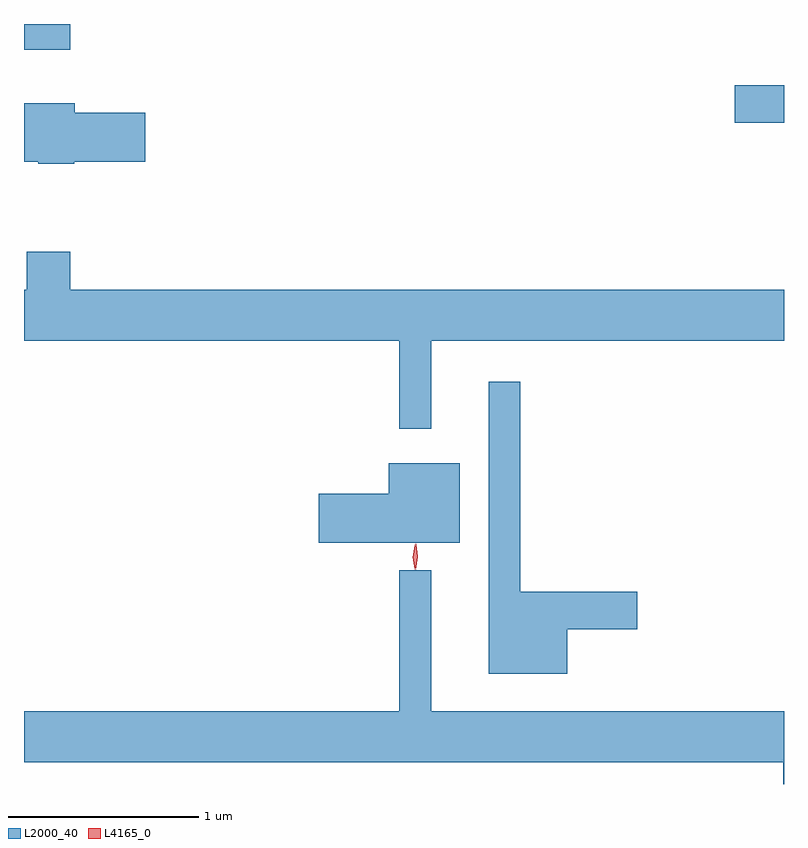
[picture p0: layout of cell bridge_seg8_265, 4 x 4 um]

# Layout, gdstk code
import gdstk
lib = gdstk.Library(unit=1e-6, precision=1e-09)
def R(c, l, rs):  # rectangles x0, y0, x1, y1
    for r in rs: c.add(gdstk.rectangle(r[:2], r[2:], *l))
def P(c, l, *ps):  # polygons
    for p in ps: c.add(gdstk.Polygon(p, *l))
L2000_40 = (2000, 40)
L4165_0 = (4165, 0)

bridge_seg8_265 = lib.new_cell('bridge_seg8_265')
R(bridge_seg8_265, L2000_40, [(1051.466,1810.921,1051.726,1811.119), (1047.726,1811.306,1047.969,1811.442)])
P(bridge_seg8_265, L2000_40, [(1047.99,1810.716),(1048.364,1810.716),(1048.364,1810.974),(1047.994,1810.974),(1047.994,1811.024),(1047.726,1811.024),(1047.726,1810.716),(1047.8,1810.716),(1047.8,1810.706),(1047.99,1810.706)],
  [(1049.869,1809.776),(1051.726,1809.776),(1051.726,1810.044),(1047.969,1810.044),(1047.969,1810.244),(1047.741,1810.244),(1047.741,1810.044),(1047.726,1810.044),(1047.726,1809.776),(1049.701,1809.776),(1049.701,1809.313),(1049.869,1809.313)],
  [(1050.584,1808.256),(1050.954,1808.256),(1050.954,1808.454),(1050.339,1808.454),(1050.339,1809.558),(1050.171,1809.558),(1050.171,1808.021),(1050.584,1808.021)],
  [(1050.019,1809.129),(1049.646,1809.129),(1049.646,1808.969),(1049.276,1808.969),(1049.276,1808.711),(1050.019,1808.711)],
  [(1051.726,1807.824),(1049.869,1807.824),(1049.869,1808.568),(1049.701,1808.568),(1049.701,1807.824),(1047.726,1807.824),(1047.726,1807.556),(1051.721,1807.556),(1051.721,1807.442),(1051.726,1807.442)])
P(bridge_seg8_265, L4165_0, [(1049.787,1808.57),(1049.778,1808.638),(1049.789,1808.705),(1049.789,1808.706),(1049.79,1808.705),(1049.798,1808.638),(1049.788,1808.57),(1049.788,1808.57)],
  [(1049.782,1808.573),(1049.782,1808.573),(1049.772,1808.636),(1049.782,1808.699),(1049.782,1808.7),(1049.783,1808.699),(1049.792,1808.636),(1049.783,1808.573)])

lib.write_gds('bridge_seg8_265.gds')
